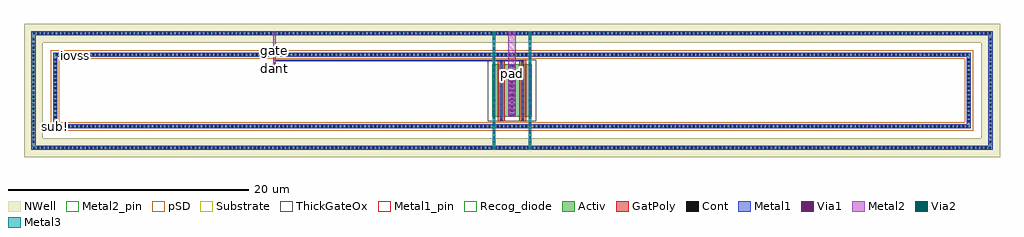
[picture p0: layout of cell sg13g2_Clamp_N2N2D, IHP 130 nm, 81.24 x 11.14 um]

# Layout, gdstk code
import gdstk
lib = gdstk.Library(unit=1e-6, precision=5e-09)
def R(c, l, rs):  # rectangles x0, y0, x1, y1
    for r in rs: c.add(gdstk.rectangle(r[:2], r[2:], *l))
def A(c, l, x, y, w, h, nx, ny, dx, dy):  # array of equal rectangles
    R(c, l, [(x+i*dx, y+j*dy, x+i*dx+w, y+j*dy+h) for i in range(nx) for j in range(ny)])
def P(c, l, *ps):  # polygons
    for p in ps: c.add(gdstk.Polygon(p, *l))
Activ = (1, 0)
GatPoly = (5, 0)
Cont = (6, 0)
Metal1 = (8, 0)
Metal1_pin = (8, 2)
Metal2 = (10, 0)
Metal2_pin = (10, 2)
pSD = (14, 0)
Via1 = (19, 0)
Via2 = (29, 0)
Metal3 = (30, 0)
NWell = (31, 0)
Substrate = (40, 0)
ThickGateOx = (44, 0)
Recog_diode = (99, 31)

sg13g2_clamp_n2n2d = lib.new_cell('sg13g2_Clamp_N2N2D')
R(sg13g2_clamp_n2n2d, Activ, [(38.34,2.75,41.66,7.15), (19.85,6.35,20.63,7.13)])
P(sg13g2_clamp_n2n2d, Activ, [(1.8,1.8),(1.8,7.76),(2.14,7.76),(2.14,2.14),(77.86,2.14),(77.86,7.76),(1.8,7.76),(1.8,8.1),(78.2,8.1),(78.2,1.8)],
  [(0,0),(0,9.56),(0.34,9.56),(0.34,0.34),(79.66,0.34),(79.66,9.56),(0,9.56),(0,9.9),(80,9.9),(80,0)])
R(sg13g2_clamp_n2n2d, GatPoly, [(38.81,2.38,39.41,7.52), (40.59,2.38,41.19,7.52)])
A(sg13g2_clamp_n2n2d, Cont, 0.14, 0.09, 0.16, 0.16, 235, 2, 0.34, 9.56)
A(sg13g2_clamp_n2n2d, Cont, 0.09, 0.62, 0.16, 0.16, 1, 26, 0, 0.34)
A(sg13g2_clamp_n2n2d, Cont, 79.75, 0.62, 0.16, 0.16, 1, 26, 0, 0.34)
A(sg13g2_clamp_n2n2d, Cont, 2.01, 1.89, 0.16, 0.16, 224, 2, 0.34, 5.96)
A(sg13g2_clamp_n2n2d, Cont, 1.89, 2.32, 0.16, 0.16, 1, 16, 0, 0.34)
A(sg13g2_clamp_n2n2d, Cont, 77.95, 2.32, 0.16, 0.16, 1, 16, 0, 0.34)
A(sg13g2_clamp_n2n2d, Cont, 38.41, 2.83, 0.16, 0.16, 3, 13, 1.51, 0.34)
R(sg13g2_clamp_n2n2d, Cont, [(39.03,2.45,39.19,2.61), (40.81,2.45,40.97,2.61), (19.99,6.49,20.15,6.65), (20.33,6.49,20.49,6.65), (19.99,6.83,20.15,6.99), (20.33,6.83,20.49,6.99), (39.03,7.29,39.19,7.45), (40.81,7.29,40.97,7.45)])
R(sg13g2_clamp_n2n2d, Metal1, [(38.385,1.8,38.595,2.14), (41.405,1.8,41.615,2.14), (38.385,2.75,38.595,7.15), (39.69,2.75,40.31,7.15), (41.405,2.75,41.615,7.15), (19.94,6.49,20.54,6.99), (38.385,7.76,38.595,8.1), (41.405,7.76,41.615,8.1)])
P(sg13g2_clamp_n2n2d, Metal1, [(1.8,1.8),(1.8,7.76),(2.14,7.76),(2.14,2.14),(77.86,2.14),(77.86,7.76),(1.8,7.76),(1.8,8.1),(78.2,8.1),(78.2,1.8)],
  [(0,0),(0,9.56),(0.34,9.56),(0.34,0.34),(79.66,0.34),(79.66,9.56),(0,9.56),(0,9.9),(80,9.9),(80,0)],
  [(39.03,2.37),(39.03,7.37),(20.345,7.37),(20.345,6.5),(20.135,6.5),(20.135,7.53),(40.97,7.53),(40.97,2.37),(40.81,2.37),(40.81,7.37),(39.19,7.37),(39.19,2.37)])
R(sg13g2_clamp_n2n2d, Metal1_pin, [(2.8,7.8,4.17,8.04)])
R(sg13g2_clamp_n2n2d, Metal2, [(38.39,0,38.59,9.9), (41.41,0,41.61,9.9), (39.695,2.755,40.305,9.9), (20.14,6.665,20.34,9.9)])
R(sg13g2_clamp_n2n2d, Metal2_pin, [(39.695,2.755,40.305,9.9), (20.14,6.665,20.34,9.9)])
P(sg13g2_clamp_n2n2d, pSD, [(1.62,1.62),(1.62,7.58),(2.32,7.58),(2.32,2.32),(77.68,2.32),(77.68,7.58),(1.62,7.58),(1.62,8.28),(78.38,8.28),(78.38,1.62)])
A(sg13g2_clamp_n2n2d, Via1, 38.395, 2.805, 0.19, 0.19, 1, 11, 0, 0.41)
A(sg13g2_clamp_n2n2d, Via1, 39.7, 2.805, 0.19, 0.19, 1, 11, 0, 0.41)
A(sg13g2_clamp_n2n2d, Via1, 40.11, 2.805, 0.19, 0.19, 1, 11, 0, 0.41)
A(sg13g2_clamp_n2n2d, Via1, 41.415, 2.805, 0.19, 0.19, 1, 11, 0, 0.41)
R(sg13g2_clamp_n2n2d, Via1, [(38.395,1.875,38.585,2.065), (41.415,1.875,41.605,2.065), (20.145,6.715,20.335,6.905), (20.145,7.125,20.335,7.315), (38.395,7.835,38.585,8.025), (41.415,7.835,41.605,8.025)])
A(sg13g2_clamp_n2n2d, Via2, 38.395, 0.14, 0.19, 0.19, 1, 24, 0, 0.41)
A(sg13g2_clamp_n2n2d, Via2, 41.415, 0.14, 0.19, 0.19, 1, 24, 0, 0.41)
R(sg13g2_clamp_n2n2d, Metal3, [(38.39,0.09,38.59,9.81), (41.41,0.09,41.61,9.81)])
P(sg13g2_clamp_n2n2d, NWell, [(-0.62,-0.62),(-0.62,8.94),(0.96,8.94),(0.96,0.96),(79.04,0.96),(79.04,8.94),(-0.62,8.94),(-0.62,10.52),(80.62,10.52),(80.62,-0.62)])
P(sg13g2_clamp_n2n2d, Substrate, [(1.8,1.8),(1.8,7.76),(2.14,7.76),(2.14,2.14),(77.86,2.14),(77.86,7.76),(1.8,7.76),(1.8,8.1),(78.2,8.1),(78.2,1.8)])
R(sg13g2_clamp_n2n2d, ThickGateOx, [(38,2.41,42,7.49)])
R(sg13g2_clamp_n2n2d, Recog_diode, [(19.83,6.33,20.65,7.15)])
sg13g2_clamp_n2n2d.add(gdstk.Label('gate', (20.24,8.28), layer=10, texttype=25))
sg13g2_clamp_n2n2d.add(gdstk.Label('pad', (40,6.33), layer=10, texttype=25))
sg13g2_clamp_n2n2d.add(gdstk.Label('sub!', (1.97,1.97), layer=63, texttype=0))
sg13g2_clamp_n2n2d.add(gdstk.Label('dant', (20.24,6.74), layer=63, texttype=0))
sg13g2_clamp_n2n2d.add(gdstk.Label('iovss', (3.7,7.9), layer=8, texttype=25))

lib.write_gds('sg13g2_Clamp_N2N2D.gds')
